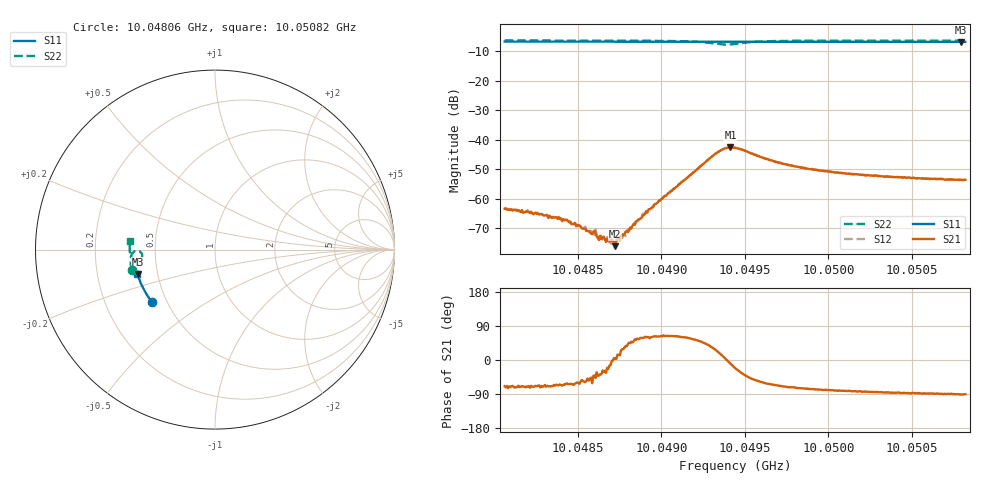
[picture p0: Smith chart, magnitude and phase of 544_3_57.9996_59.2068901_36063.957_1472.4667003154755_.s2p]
#  HZ  S  RI  R  50.00
! Rohde & Schwarz Vector Network Analyzer
! Rohde-Schwarz,ZNB20-2Port,1311601062101988,3.16
! Created: UTC 3/21/2024, 1:14:44 AM
! freq[Hz]  re:S11  im:S11  re:S21  im:S21  re:S12  im:S12  re:S22  im:S22
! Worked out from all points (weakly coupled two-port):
!   401 points, 10.04806 GHz to 10.05082 GHz, reference 50 ohm
!   highest |S21| = -42.64 dB at 10.04941 GHz (marker M1); lowest = -76.1 dB at 10.04872 GHz (marker M2)
!   lowest |S11| = -6.9 dB at 10.05079 GHz (marker M3), VSWR 2.65, Z = 19.2 - j6.57 ohm
!   |S11| at or under -10 dB: nowhere
!   |S22| runs from -7.8 to -6.4 dB; largest |S21 - S12| = 0.00052
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1.0048061e10  -0.3499 -0.2939  0.000239 -0.000632  0.000264 -0.000625  -0.4637 -0.1148
1.0048254e10  -0.3577 -0.2838  0.000195 -0.000517  0.000243 -0.000523  -0.4664 -0.1011
1.0048378e10  -0.3625 -0.2772  0.000184 -0.000419  0.000207 -0.000403  -0.4679 -0.0923
1.0048427e10  -0.3643 -0.2746  0.000201 -0.000393  0.000198 -0.000376  -0.4684 -0.0887
1.0048523e10  -0.3679 -0.2695  0.000192 -0.000251  0.000158 -0.000284  -0.4692 -0.0816
1.0048599e10  -0.3708 -0.2652  0.000217 -0.000187  0.000174 -0.000173  -0.4698 -0.0758
1.0048627e10  -0.3718 -0.2638  0.000151 -0.000129  0.000186 -0.0001  -0.47 -0.0736
1.0048668e10  -0.3733 -0.2616  0.000154 -0.000103  0.000188 -8.41e-05  -0.4702 -0.0702
1.0048703e10  -0.3746 -0.2596  0.00021 -8.91e-06  0.000194 -3.52e-06  -0.4703 -0.0675
1.0048723e10  -0.3753 -0.2584  0.000157 9.81e-06  0.000176 1.36e-05  -0.4704 -0.0657
1.0048778e10  -0.3772 -0.2554  0.00021 0.000133  0.000194 0.000155  -0.4705 -0.0612
1.0048834e10  -0.3791 -0.2523  0.000241 0.000283  0.000219 0.000302  -0.4705 -0.0562
1.0048985e10  -0.3844 -0.2438  0.000445 0.000823  0.000366 0.000841  -0.4688 -0.0413
1.0049316e10  -0.3946 -0.2247  0.00487 0.00275  0.00466 0.00301  -0.4249 -0.00777
1.0049372e10  -0.396 -0.2215  0.00687 0.00102  0.00681 0.00146  -0.4079 -0.0235
1.0049413e10  -0.3972 -0.2193  0.00728 -0.00123  0.0074 -0.00075  -0.4071 -0.0429
1.0049441e10  -0.3981 -0.2179  0.00681 -0.00262  0.007 -0.00215  -0.4134 -0.0538
1.0049689e10  -0.4059 -0.2034  0.00164 -0.00384  0.00188 -0.00376  -0.4655 -0.0426
1.0049903e10  -0.4119 -0.1907  0.000725 -0.00306  0.000914 -0.00306  -0.4733 -0.0197
1.0050365e10  -0.4227 -0.1625  0.000169 -0.00235  0.00032 -0.00235  -0.4753 0.018
1.0050792e10  -0.4314 -0.1358  -2.54e-05 -0.00209  9.44e-05 -0.0021  -0.4734 0.0485
1.005082e10  -0.432 -0.1341  -7.98e-06 -0.00209  7.6e-05 -0.00208  -0.4732 0.0507
